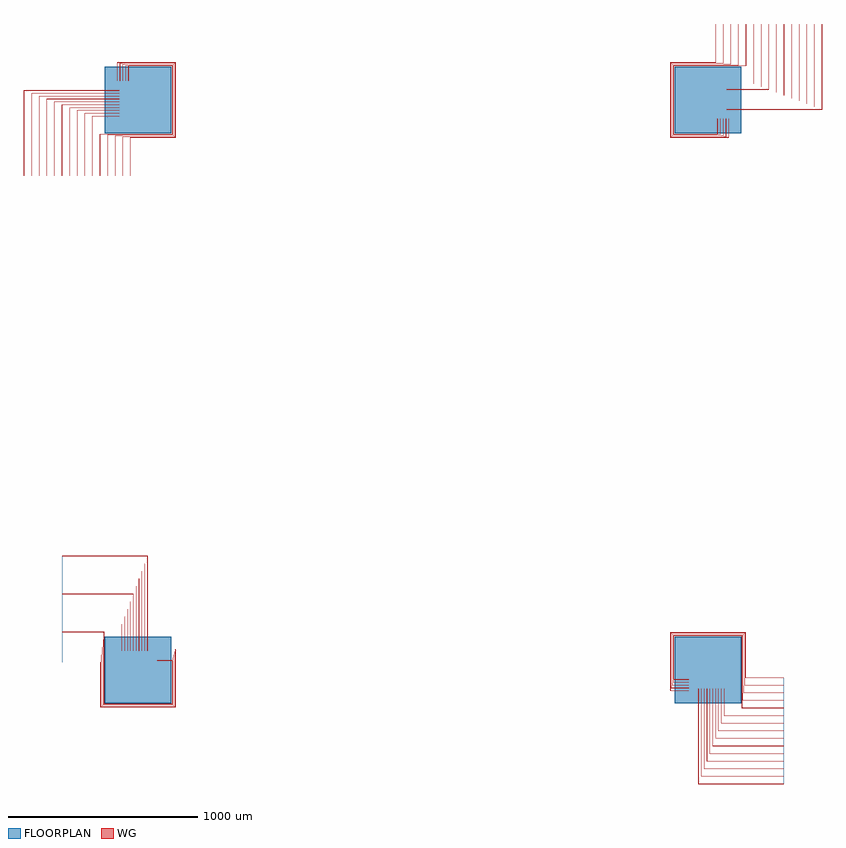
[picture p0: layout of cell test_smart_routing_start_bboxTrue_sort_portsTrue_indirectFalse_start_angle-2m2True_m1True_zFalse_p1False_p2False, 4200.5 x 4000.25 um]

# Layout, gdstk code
import gdstk
lib = gdstk.Library(unit=1e-6, precision=1e-09)
def R(c, l, rs):  # rectangles x0, y0, x1, y1
    for r in rs: c.add(gdstk.rectangle(r[:2], r[2:], *l))
def P(c, l, *ps):  # polygons
    for p in ps: c.add(gdstk.Polygon(p, *l))
WG = (1, 0)
FLOORPLAN = (10, 0)

test_smart_routing_start = lib.new_cell('test_smart_routing_start_bboxTrue_sort_portsTrue_indirectFalse_start_angle-2m2True_m1True_zFalse_p1False_p2False')
P(test_smart_routing_start, WG, [(49.75,100),(49.75,599.75),(-400,599.75),(-400,600.25),(50.25,600.25),(50.25,100)],
  [(34.75,100),(34.75,559.75),(-400,559.75),(-400,560.25),(35.25,560.25),(35.25,100)],
  [(19.75,100),(19.75,519.75),(-400,519.75),(-400,520.25),(20.25,520.25),(20.25,100)],
  [(4.75,100),(4.75,479.75),(-400,479.75),(-400,480.25),(5.25,480.25),(5.25,100)],
  [(-10.25,100),(-10.25,439.75),(-400,439.75),(-400,440.25),(-9.75,440.25),(-9.75,100)],
  [(-25.25,100),(-25.25,399.75),(-400,399.75),(-400,400.25),(-24.75,400.25),(-24.75,100)],
  [(-40.25,100),(-40.25,359.75),(-400,359.75),(-400,360.25),(-39.75,360.25),(-39.75,100)],
  [(-55.25,100),(-55.25,319.75),(-400,319.75),(-400,320.25),(-54.75,320.25),(-54.75,100)],
  [(-70.25,100),(-70.25,279.75),(-400,279.75),(-400,280.25),(-69.75,280.25),(-69.75,100)],
  [(-85.25,100),(-85.25,239.75),(-400,239.75),(-400,240.25),(-84.75,240.25),(-84.75,100)],
  [(-179.5,-179.5),(-179.5,199.75),(-400,199.75),(-400,200.25),(-179,200.25),(-179,-179),(179,-179),(179,49.75),(100,49.75),(100,50.25),(179.5,50.25),(179.5,-179.5)],
  [(-184,-184),(-184,159.75),(-400,159.75),(-400,160.25),(-183.5,160.25),(-183.5,-183.5),(183.5,-183.5),(183.5,64.75),(100,64.75),(100,65.25),(184,65.25),(184,-184)],
  [(-188.5,-188.5),(-188.5,119.75),(-400,119.75),(-400,120.25),(-188,120.25),(-188,-188),(188,-188),(188,79.75),(100,79.75),(100,80.25),(188.5,80.25),(188.5,-188.5)],
  [(-193,-193),(-193,79.75),(-400,79.75),(-400,80.25),(-192.5,80.25),(-192.5,-192.5),(192.5,-192.5),(192.5,94.75),(100,94.75),(100,95.25),(193,95.25),(193,-193)],
  [(-197.5,-197.5),(-197.5,39.75),(-400,39.75),(-400,40.25),(-197,40.25),(-197,-197),(197,-197),(197,109.75),(100,109.75),(100,110.25),(197.5,110.25),(197.5,-197.5)],
  [(-600.25,2600),(-600.25,3050.25),(-100,3050.25),(-100,3049.75),(-599.75,3049.75),(-599.75,2600)],
  [(-560.25,2600),(-560.25,3035.25),(-100,3035.25),(-100,3034.75),(-559.75,3034.75),(-559.75,2600)],
  [(-520.25,2600),(-520.25,3020.25),(-100,3020.25),(-100,3019.75),(-519.75,3019.75),(-519.75,2600)],
  [(-480.25,2600),(-480.25,3005.25),(-100,3005.25),(-100,3004.75),(-479.75,3004.75),(-479.75,2600)],
  [(-440.25,2600),(-440.25,2990.25),(-100,2990.25),(-100,2989.75),(-439.75,2989.75),(-439.75,2600)],
  [(-400.25,2600),(-400.25,2975.25),(-100,2975.25),(-100,2974.75),(-399.75,2974.75),(-399.75,2600)],
  [(-360.25,2600),(-360.25,2960.25),(-100,2960.25),(-100,2959.75),(-359.75,2959.75),(-359.75,2600)],
  [(-320.25,2600),(-320.25,2945.25),(-100,2945.25),(-100,2944.75),(-319.75,2944.75),(-319.75,2600)],
  [(-280.25,2600),(-280.25,2930.25),(-100,2930.25),(-100,2929.75),(-279.75,2929.75),(-279.75,2600)],
  [(-240.25,2600),(-240.25,2915.25),(-100,2915.25),(-100,2914.75),(-239.75,2914.75),(-239.75,2600)],
  [(-200.25,2600),(-200.25,2821),(179,2821),(179,3179),(-49.75,3179),(-49.75,3100),(-50.25,3100),(-50.25,3179.5),(179.5,3179.5),(179.5,2820.5),(-199.75,2820.5),(-199.75,2600)],
  [(-160.25,2600),(-160.25,2816.5),(183.5,2816.5),(183.5,3183.5),(-64.75,3183.5),(-64.75,3100),(-65.25,3100),(-65.25,3184),(184,3184),(184,2816),(-159.75,2816),(-159.75,2600)],
  [(-120.25,2600),(-120.25,2812),(188,2812),(188,3188),(-79.75,3188),(-79.75,3100),(-80.25,3100),(-80.25,3188.5),(188.5,3188.5),(188.5,2811.5),(-119.75,2811.5),(-119.75,2600)],
  [(-80.25,2600),(-80.25,2807.5),(192.5,2807.5),(192.5,3192.5),(-94.75,3192.5),(-94.75,3100),(-95.25,3100),(-95.25,3193),(193,3193),(193,2807),(-79.75,2807),(-79.75,2600)],
  [(-40.25,2600),(-40.25,2803),(197,2803),(197,3197),(-109.75,3197),(-109.75,3100),(-110.25,3100),(-110.25,3197.5),(197.5,3197.5),(197.5,2802.5),(-39.75,2802.5),(-39.75,2600)],
  [(2949.75,-600.25),(2949.75,-100),(2950.25,-100),(2950.25,-599.75),(3400,-599.75),(3400,-600.25)],
  [(2964.75,-560.25),(2964.75,-100),(2965.25,-100),(2965.25,-559.75),(3400,-559.75),(3400,-560.25)],
  [(2979.75,-520.25),(2979.75,-100),(2980.25,-100),(2980.25,-519.75),(3400,-519.75),(3400,-520.25)],
  [(2994.75,-480.25),(2994.75,-100),(2995.25,-100),(2995.25,-479.75),(3400,-479.75),(3400,-480.25)],
  [(3009.75,-440.25),(3009.75,-100),(3010.25,-100),(3010.25,-439.75),(3400,-439.75),(3400,-440.25)],
  [(3024.75,-400.25),(3024.75,-100),(3025.25,-100),(3025.25,-399.75),(3400,-399.75),(3400,-400.25)],
  [(3039.75,-360.25),(3039.75,-100),(3040.25,-100),(3040.25,-359.75),(3400,-359.75),(3400,-360.25)],
  [(3054.75,-320.25),(3054.75,-100),(3055.25,-100),(3055.25,-319.75),(3400,-319.75),(3400,-320.25)],
  [(3069.75,-280.25),(3069.75,-100),(3070.25,-100),(3070.25,-279.75),(3400,-279.75),(3400,-280.25)],
  [(3084.75,-240.25),(3084.75,-100),(3085.25,-100),(3085.25,-239.75),(3400,-239.75),(3400,-240.25)],
  [(3179,-200.25),(3179,179),(2821,179),(2821,-49.75),(2900,-49.75),(2900,-50.25),(2820.5,-50.25),(2820.5,179.5),(3179.5,179.5),(3179.5,-199.75),(3400,-199.75),(3400,-200.25)],
  [(3183.5,-160.25),(3183.5,183.5),(2816.5,183.5),(2816.5,-64.75),(2900,-64.75),(2900,-65.25),(2816,-65.25),(2816,184),(3184,184),(3184,-159.75),(3400,-159.75),(3400,-160.25)],
  [(3188,-120.25),(3188,188),(2812,188),(2812,-79.75),(2900,-79.75),(2900,-80.25),(2811.5,-80.25),(2811.5,188.5),(3188.5,188.5),(3188.5,-119.75),(3400,-119.75),(3400,-120.25)],
  [(2807,-95.25),(2807,193),(3193,193),(3193,-79.75),(3400,-79.75),(3400,-80.25),(3192.5,-80.25),(3192.5,192.5),(2807.5,192.5),(2807.5,-94.75),(2900,-94.75),(2900,-95.25)],
  [(2802.5,-110.25),(2802.5,197.5),(3197.5,197.5),(3197.5,-39.75),(3400,-39.75),(3400,-40.25),(3197,-40.25),(3197,197),(2803,197),(2803,-109.75),(2900,-109.75),(2900,-110.25)],
  [(3100,2949.75),(3100,2950.25),(3599.75,2950.25),(3599.75,3400),(3600.25,3400),(3600.25,2949.75)],
  [(3100,2964.75),(3100,2965.25),(3559.75,2965.25),(3559.75,3400),(3560.25,3400),(3560.25,2964.75)],
  [(3100,2979.75),(3100,2980.25),(3519.75,2980.25),(3519.75,3400),(3520.25,3400),(3520.25,2979.75)],
  [(3100,2994.75),(3100,2995.25),(3479.75,2995.25),(3479.75,3400),(3480.25,3400),(3480.25,2994.75)],
  [(3100,3009.75),(3100,3010.25),(3439.75,3010.25),(3439.75,3400),(3440.25,3400),(3440.25,3009.75)],
  [(3100,3024.75),(3100,3025.25),(3399.75,3025.25),(3399.75,3400),(3400.25,3400),(3400.25,3024.75)],
  [(3100,3039.75),(3100,3040.25),(3359.75,3040.25),(3359.75,3400),(3360.25,3400),(3360.25,3039.75)],
  [(3100,3054.75),(3100,3055.25),(3319.75,3055.25),(3319.75,3400),(3320.25,3400),(3320.25,3054.75)],
  [(3100,3069.75),(3100,3070.25),(3279.75,3070.25),(3279.75,3400),(3280.25,3400),(3280.25,3069.75)],
  [(3100,3084.75),(3100,3085.25),(3239.75,3085.25),(3239.75,3400),(3240.25,3400),(3240.25,3084.75)],
  [(2820.5,2820.5),(2820.5,3179.5),(3199.75,3179.5),(3199.75,3400),(3200.25,3400),(3200.25,3179),(2821,3179),(2821,2821),(3049.75,2821),(3049.75,2900),(3050.25,2900),(3050.25,2820.5)],
  [(2816,2816),(2816,3184),(3159.75,3184),(3159.75,3400),(3160.25,3400),(3160.25,3183.5),(2816.5,3183.5),(2816.5,2816.5),(3064.75,2816.5),(3064.75,2900),(3065.25,2900),(3065.25,2816)],
  [(2811.5,2811.5),(2811.5,3188.5),(3119.75,3188.5),(3119.75,3400),(3120.25,3400),(3120.25,3188),(2812,3188),(2812,2812),(3079.75,2812),(3079.75,2900),(3080.25,2900),(3080.25,2811.5)],
  [(2807,2807),(2807,3193),(3079.75,3193),(3079.75,3400),(3080.25,3400),(3080.25,3192.5),(2807.5,3192.5),(2807.5,2807.5),(3094.75,2807.5),(3094.75,2900),(3095.25,2900),(3095.25,2807)],
  [(2802.5,2802.5),(2802.5,3197.5),(3039.75,3197.5),(3039.75,3400),(3040.25,3400),(3040.25,3197),(2803,3197),(2803,2803),(3109.75,2803),(3109.75,2900),(3110.25,2900),(3110.25,2802.5)])
R(test_smart_routing_start, FLOORPLAN, [(-175,-175,175,175), (2825,-175,3175,175), (-175,2825,175,3175), (2825,2825,3175,3175)])
P(test_smart_routing_start, FLOORPLAN, [(-400,40),(-400,600),(-400,600),(-400,40)],
  [(-600,2600),(-600,2600),(-40,2600),(-40,2600)],
  [(3400,-600),(3400,-40),(3400,-40),(3400,-600)],
  [(3040,3400),(3040,3400),(3600,3400),(3600,3400)])

lib.write_gds('test_smart_routing_start_bboxTrue_sort_portsTrue_indirectFalse_start_angle-2m2True_m1True_zFalse_p1False_p2False.gds')
